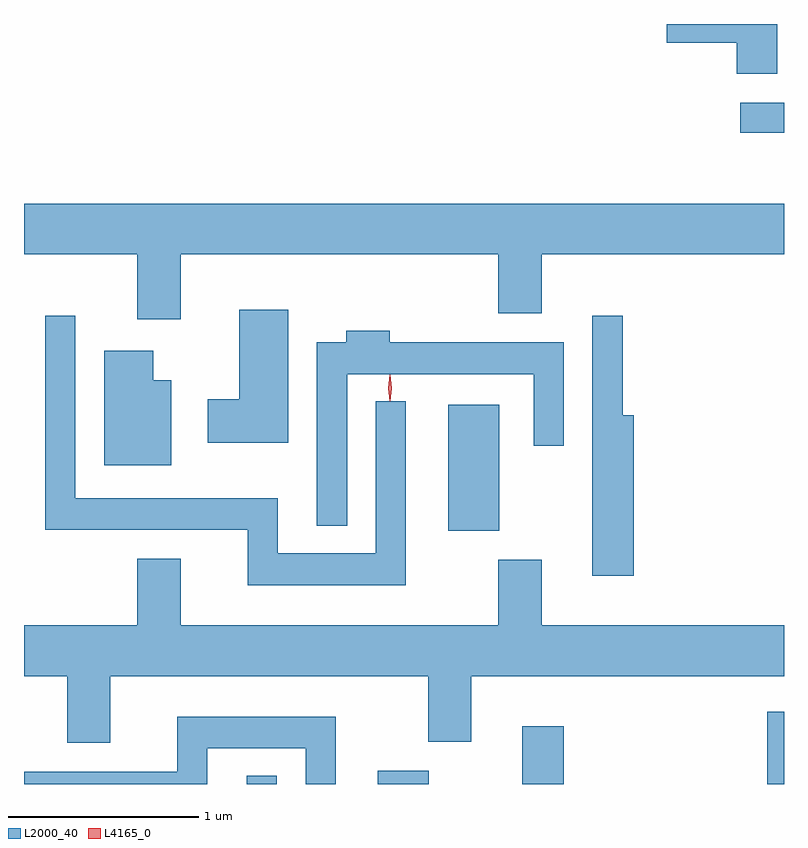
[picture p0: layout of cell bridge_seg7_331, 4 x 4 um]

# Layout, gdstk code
import gdstk
lib = gdstk.Library(unit=1e-6, precision=1e-09)
def R(c, l, rs):  # rectangles x0, y0, x1, y1
    for r in rs: c.add(gdstk.rectangle(r[:2], r[2:], *l))
def P(c, l, *ps):  # polygons
    for p in ps: c.add(gdstk.Polygon(p, *l))
L2000_40 = (2000, 40)
L4165_0 = (4165, 0)

bridge_seg7_331 = lib.new_cell('bridge_seg7_331')
R(bridge_seg7_331, L2000_40, [(1176.566,1771.469,1176.724,1771.513), (1177.256,1771.469,1177.524,1771.539), (1178.016,1771.469,1178.234,1771.774), (1179.306,1771.469,1179.394,1771.848), (1177.626,1772.801,1177.894,1773.464), (1179.163,1774.896,1179.394,1775.054)])
P(bridge_seg7_331, L2000_40, [(1179.359,1775.469),(1178.776,1775.469),(1178.776,1775.371),(1179.146,1775.371),(1179.146,1775.206),(1179.359,1775.206)],
  [(1176.219,1774.256),(1177.891,1774.256),(1177.891,1773.946),(1178.119,1773.946),(1178.119,1774.256),(1179.394,1774.256),(1179.394,1774.524),(1175.394,1774.524),(1175.394,1774.256),(1175.991,1774.256),(1175.991,1773.916),(1176.219,1773.916)],
  [(1176.784,1773.964),(1176.526,1773.964),(1176.526,1773.494),(1176.361,1773.494),(1176.361,1773.266),(1176.784,1773.266)],
  [(1177.404,1773.483),(1177.246,1773.483),(1177.246,1772.684),(1176.729,1772.684),(1176.729,1772.974),(1175.664,1772.974),(1175.664,1773.933),(1175.506,1773.933),(1175.506,1772.806),(1176.571,1772.806),(1176.571,1772.516),(1177.404,1772.516)],
  [(1178.604,1773.409),(1178.544,1773.409),(1178.544,1773.933),(1178.386,1773.933),(1178.386,1772.566),(1178.604,1772.566)],
  [(1177.094,1773.626),(1178.076,1773.626),(1178.076,1773.248),(1178.234,1773.248),(1178.234,1773.794),(1177.319,1773.794),(1177.319,1773.854),(1177.091,1773.854),(1177.091,1773.794),(1176.936,1773.794),(1176.936,1772.828),(1177.094,1772.828)],
  [(1176.169,1773.594),(1176.074,1773.594),(1176.074,1773.749),(1175.816,1773.749),(1175.816,1773.146),(1176.169,1773.146)],
  [(1175.849,1772.036),(1177.521,1772.036),(1177.521,1771.691),(1177.749,1771.691),(1177.749,1772.036),(1179.394,1772.036),(1179.394,1772.304),(1178.119,1772.304),(1178.119,1772.649),(1177.891,1772.649),(1177.891,1772.304),(1176.219,1772.304),(1176.219,1772.654),(1175.991,1772.654),(1175.991,1772.304),(1175.394,1772.304),(1175.394,1772.036),(1175.621,1772.036),(1175.621,1771.686),(1175.849,1771.686)],
  [(1176.359,1771.656),(1176.876,1771.656),(1176.876,1771.469),(1177.034,1771.469),(1177.034,1771.824),(1176.201,1771.824),(1176.201,1771.534),(1175.394,1771.534),(1175.394,1771.469),(1176.359,1771.469)])
P(bridge_seg7_331, L4165_0, [(1177.321,1773.483),(1177.32,1773.484),(1177.31,1773.553),(1177.32,1773.622),(1177.32,1773.623),(1177.321,1773.622),(1177.33,1773.553),(1177.321,1773.484)])

lib.write_gds('bridge_seg7_331.gds')
